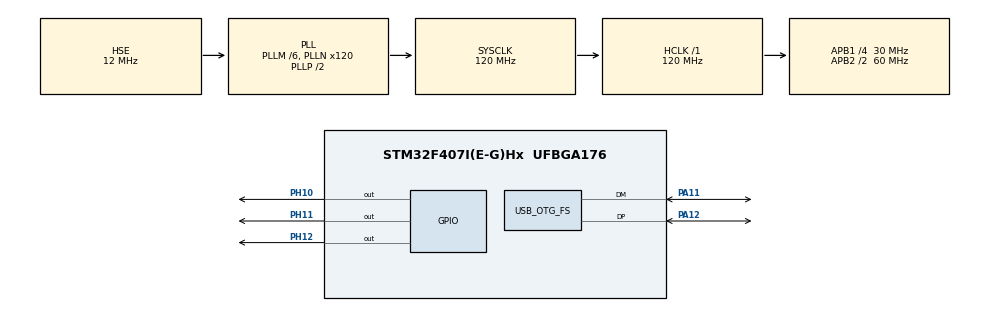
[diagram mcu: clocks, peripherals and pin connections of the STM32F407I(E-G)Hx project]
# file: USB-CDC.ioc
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FREERTOS.Tasks01=defaultTask,24,128,StartDefaultTask,Default,NULL,Dynamic,NULL,NULL;myTask02,8,256,StartTask02,Default,NULL,Dynamic,NULL,NULL
Mcu.Family=STM32F4
Mcu.Name=STM32F407I(E-G)Hx
Mcu.Package=UFBGA176
NVIC.OTG_FS_IRQn=true\:6\:0\:true\:false\:true\:true\:true\:true\:true
NVIC.PriorityGroup=NVIC_PRIORITYGROUP_4
PA11.Mode=Device_Only
PA11.Signal=USB_OTG_FS_DM
PA12.Mode=Device_Only
PA12.Signal=USB_OTG_FS_DP
PA13.Mode=Serial_Wire
PA13.Signal=SYS_JTMS-SWDIO
PA14.Mode=Serial_Wire
PA14.Signal=SYS_JTCK-SWCLK
PH0-OSC_IN.Mode=HSE-External-Oscillator
PH0-OSC_IN.Signal=RCC_OSC_IN
PH1-OSC_OUT.Mode=HSE-External-Oscillator
PH1-OSC_OUT.Signal=RCC_OSC_OUT
PH10.Signal=GPIO_Output
PH11.Signal=GPIO_Output
PH12.Signal=GPIO_Output
ProjectManager.HeapSize=0x600
ProjectManager.StackSize=0x400
ProjectManager.TargetToolchain=STM32CubeIDE
RCC.48MHZClocksFreq_Value=48000000
RCC.AHBFreq_Value=120000000
RCC.APB1CLKDivider=RCC_HCLK_DIV4
RCC.APB1Freq_Value=30000000
RCC.APB1TimFreq_Value=60000000
RCC.APB2CLKDivider=RCC_HCLK_DIV2
RCC.APB2Freq_Value=60000000
RCC.APB2TimFreq_Value=120000000
RCC.CortexFreq_Value=120000000
RCC.HCLKFreq_Value=120000000
RCC.HSE_VALUE=12000000
RCC.HSI_VALUE=16000000
RCC.LSE_VALUE=32768
RCC.PLLM=6
RCC.PLLN=120
RCC.PLLQ=5
RCC.SYSCLKFreq_VALUE=120000000
RCC.SYSCLKSource=RCC_SYSCLKSOURCE_PLLCLK
RCC.VCOOutputFreq_Value=240000000
USB_DEVICE.CLASS_NAME_FS=CDC
USB_DEVICE.CLASS_NAME_HS=CDC
USB_DEVICE.PID_CDC_FS=22336
USB_DEVICE.VirtualMode-CDC_FS=Cdc
USB_DEVICE.VirtualMode-CDC_HS=Cdc
USB_DEVICE.VirtualModeFS=Cdc_FS
USB_DEVICE.VirtualModeHS=Cdc_HS
USB_OTG_FS.VirtualMode=Device_Only
VP_FREERTOS_VS_CMSIS_V2.Mode=CMSIS_V2
VP_USB_DEVICE_VS_USB_DEVICE_CDC_FS.Mode=CDC_FS
board=custom

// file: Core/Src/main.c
/* USER CODE BEGIN Header */
/**
  ******************************************************************************
  * @file           : main.c
  * @brief          : Main program body
  ******************************************************************************
  * @attention
  *
  * Copyright (c) 2023 STMicroelectronics.
  * All rights reserved.
  *
  * This software is licensed under terms that can be found in the LICENSE file
  * in the root directory of this software component.
  * If no LICENSE file comes with this software, it is provided AS-IS.
  *
  ******************************************************************************
  */
/* USER CODE END Header */
#include "main.h"
#include "cmsis_os.h"
#include "usb_device.h"
#include "gpio.h"

/* USER CODE BEGIN Includes */
#include "Serial.h"
/* USER CODE END Includes */

void SystemClock_Config(void);
void MX_FREERTOS_Init(void);

int main(void)
{

  /* MCU Configuration--------------------------------------------------------*/

  /* Reset of all peripherals, Initializes the Flash interface and the Systick. */
  HAL_Init();

  /* Configure the system clock */
  SystemClock_Config();

  /* Initialize all configured peripherals */
  MX_GPIO_Init();

  /* Init scheduler */
  osKernelInitialize();  /* Call init function for freertos objects (in freertos.c) */
  MX_FREERTOS_Init();

  /* Start scheduler */
  osKernelStart();

  /* We should never get here as control is now taken by the scheduler */
  /* Infinite loop */
  while (1)
  {

  }
}

void SystemClock_Config(void)
{
  RCC_OscInitTypeDef RCC_OscInitStruct = {0};
  RCC_ClkInitTypeDef RCC_ClkInitStruct = {0};

  /** Configure the main internal regulator output voltage
  */
  __HAL_RCC_PWR_CLK_ENABLE();
  __HAL_PWR_VOLTAGESCALING_CONFIG(PWR_REGULATOR_VOLTAGE_SCALE1);

  /** Initializes the RCC Oscillators according to the specified parameters
  * in the RCC_OscInitTypeDef structure.
  */
  RCC_OscInitStruct.OscillatorType = RCC_OSCILLATORTYPE_HSE;
  RCC_OscInitStruct.HSEState = RCC_HSE_ON;
  RCC_OscInitStruct.PLL.PLLState = RCC_PLL_ON;
  RCC_OscInitStruct.PLL.PLLSource = RCC_PLLSOURCE_HSE;
  RCC_OscInitStruct.PLL.PLLM = 6;
  RCC_OscInitStruct.PLL.PLLN = 120;
  RCC_OscInitStruct.PLL.PLLP = RCC_PLLP_DIV2;
  RCC_OscInitStruct.PLL.PLLQ = 5;
  if (HAL_RCC_OscConfig(&RCC_OscInitStruct) != HAL_OK)
  {
    Error_Handler();
  }

  /** Initializes the CPU, AHB and APB buses clocks
  */
  RCC_ClkInitStruct.ClockType = RCC_CLOCKTYPE_HCLK|RCC_CLOCKTYPE_SYSCLK
                              |RCC_CLOCKTYPE_PCLK1|RCC_CLOCKTYPE_PCLK2;
  RCC_ClkInitStruct.SYSCLKSource = RCC_SYSCLKSOURCE_PLLCLK;
  RCC_ClkInitStruct.AHBCLKDivider = RCC_SYSCLK_DIV1;
  RCC_ClkInitStruct.APB1CLKDivider = RCC_HCLK_DIV4;
  RCC_ClkInitStruct.APB2CLKDivider = RCC_HCLK_DIV2;

  if (HAL_RCC_ClockConfig(&RCC_ClkInitStruct, FLASH_LATENCY_3) != HAL_OK)
  {
    Error_Handler();
  }
}

void Error_Handler(void)
{
  __disable_irq();
  while (1)
  {
  }
}

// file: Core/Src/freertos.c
/* USER CODE BEGIN Header */
/**
  ******************************************************************************
  * File Name          : freertos.c
  * Description        : Code for freertos applications
  ******************************************************************************
  * @attention
  *
  * Copyright (c) 2023 STMicroelectronics.
  * All rights reserved.
  *
  * This software is licensed under terms that can be found in the LICENSE file
  * in the root directory of this software component.
  * If no LICENSE file comes with this software, it is provided AS-IS.
  *
  ******************************************************************************
  */
/* USER CODE END Header */

#include "FreeRTOS.h"
#include "task.h"
#include "main.h"
#include "cmsis_os.h"

/* USER CODE BEGIN Includes */
#include "serial.h"
#include "usb_device.h"
#include "gpio.h"
/* USER CODE END Includes */

/* Definitions for defaultTask */
osThreadId_t defaultTaskHandle;
const osThreadAttr_t defaultTask_attributes = {
  .name = "defaultTask",
  .stack_size = 128 * 4,
  .priority = (osPriority_t) osPriorityNormal,
};
/* Definitions for myTask02 */
osThreadId_t myTask02Handle;
const osThreadAttr_t myTask02_attributes = {
  .name = "myTask02",
  .stack_size = 256 * 4,
  .priority = (osPriority_t) osPriorityLow,
};

void StartDefaultTask(void *argument);
void StartTask02(void *argument);

extern void MX_USB_DEVICE_Init(void);
void MX_FREERTOS_Init(void); /* (MISRA C 2004 rule 8.1) */

void MX_FREERTOS_Init(void) {

  /* Create the thread(s) */
  /* creation of defaultTask */
  defaultTaskHandle = osThreadNew(StartDefaultTask, NULL, &defaultTask_attributes);

  /* creation of myTask02 */
  myTask02Handle = osThreadNew(StartTask02, NULL, &myTask02_attributes);

}

void StartDefaultTask(void *argument)
{
  /* init code for USB_DEVICE */
  MX_USB_DEVICE_Init();
  for(;;)
  {
    osDelay(1);
  }
}

void StartTask02(void *argument)
{
  /* USER CODE BEGIN StartTask02 */
	  _send_packetinfo sd;
	  sd = (_sendpacket *)malloc(sizeof(_sendpacket));
	  uint8_t feedPackage[14];
	  uint8_t RecePackage[60];
	  uint8_t SendData[12];
	  _receive_packetinfo receinfo;
	  receinfo = (_receive_packetinfo)malloc(sizeof(_receive_packet));
	  sd->header = 0X5A;
	  sd->robot_color = 1;
	  sd->task_mode= 2;
	  sd->reserve = 5;
	  sd->pitch=1.11;
	  sd->yaw=2.22;
	  sd->checksum=1813;
	  Pack_Data_ROS2(sd, feedPackage);
	  Data_Select(feedPackage,SendData);
  /* Infinite loop */
  for(;;)
  {
  CDC_SendFeed(SendData, 12);
  CDC_Receive_ROS2(RecePackage, 30, receinfo);
  HAL_Delay(10);
    osDelay(1);
  }
  /* USER CODE END StartTask02 */
}
